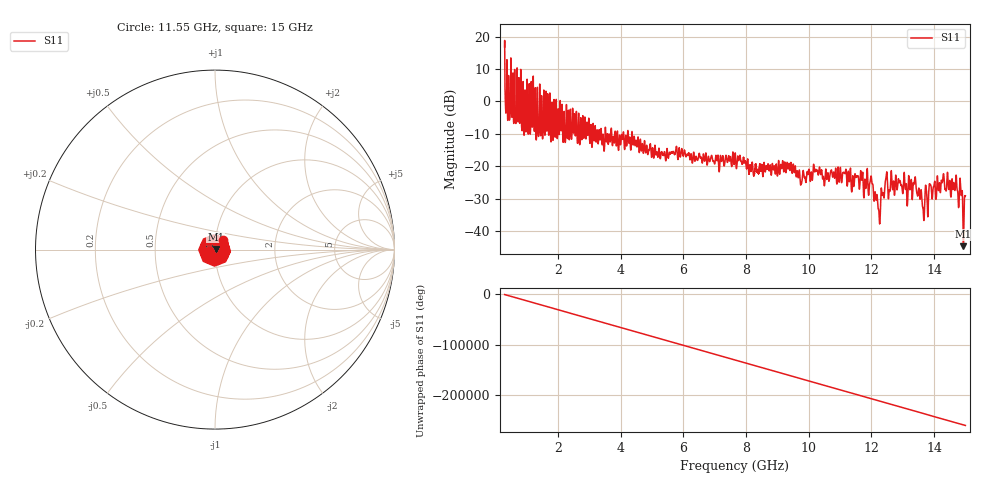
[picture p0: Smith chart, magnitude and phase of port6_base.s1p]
# GHZ S RI R 50.0
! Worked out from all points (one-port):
!   12801 points, 300 MHz to 15 GHz, reference 50 ohm
!   lowest |S11| = -44.7 dB at 14.94 GHz (marker M1), VSWR 1.01, Z = 50.5 + j0.361 ohm
!   |S11| at or under -10 dB: 3.905 GHz to 4.083 GHz (178.2 MHz wide, 4.46 % of centre); 4.098 GHz to 4.223 GHz (125 MHz wide, 3 % of centre); 4.371 GHz to end of sweep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
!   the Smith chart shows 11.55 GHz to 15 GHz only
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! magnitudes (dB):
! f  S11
! 300 MHz  16.8
! 401.1 MHz  -5.9
! 755.9 MHz  7.3
! 914.4 MHz  -9.9
! 1.212 GHz  6.9
! 1.32 GHz  -10.7
! 1.613 GHz  -1.4
! 1.839 GHz  -11.8
! 2.138 GHz  -2.0
! 2.229 GHz  -12.6
! 3.975 GHz  -11.0
! 5.812 GHz  -16.7
! 7.65 GHz  -16.7
! 8.297 GHz  -19.9
! 9.488 GHz  -21.4
! 9.728 GHz  -24.3
! 10.21 GHz  -21.1
! 11.32 GHz  -21.4
! 12 GHz  -23.3
! 12.22 GHz  -33.3
! 12.45 GHz  -24.4
! 13.16 GHz  -29.8
! 13.39 GHz  -23.3
! 13.63 GHz  -32.6
! 14.25 GHz  -24.7
! 14.64 GHz  -26.3
! 14.94 GHz  -44.7
! 15 GHz  -29.1
